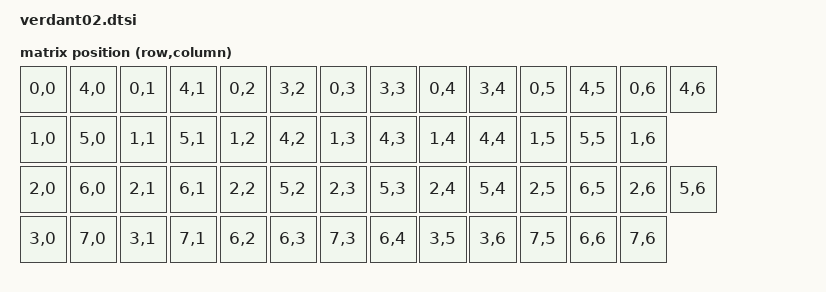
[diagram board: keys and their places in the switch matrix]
/*
 * Copyright (c) 2026 The ZMK Contributors
 * SPDX-License-Identifier: MIT
 *
 * Verdant02 shield: common hardware definitions.
 *
 * This file is board-agnostic. It declares the kscan instance and
 * the 8x7 interleaved matrix-transform (54 mappings for the 14/13/14/13
 * physical-row layout as defined by the original QMK Verdant02.h LAYOUT).
 *
 * Board-specific files (e.g. verdant02.overlay for promicro_nrf52840)
 * MUST #include this dtsi and then populate &kscan0 with row-gpios /
 * col-gpios arrays (only the pin assignments vary by board).
 */

#include <dt-bindings/zmk/matrix_transform.h>
#include <dt-bindings/gpio/gpio.h>

/ {
    chosen {
        zmk,kscan = &kscan0;
        zmk,matrix_transform = &matrix_transform_0;
    };

    kscan0: kscan {
        compatible = "zmk,kscan-gpio-matrix";
        diode-direction = "col2row";
        wakeup-source;

        /* NOTE: row-gpios / col-gpios are NOT populated here.
         * They must be filled in by the board-specific overlay that
         * #includes this file, via:
         *   &kscan0 { row-gpios = <...>; col-gpios = <...>; };
         */
    };

    matrix_transform_0: keymap_transform_0 {
        compatible = "zmk,matrix-transform";
        columns = <7>;
        rows = <8>;

        /*
         * Exact verbatim copy of QMK Firmware/verdant02/Verdant02.h
         * LAYOUT macro argument order. Each `RC(r,c)` = logical row r,
         * logical col c. 54 entries total (14 + 13 + 14 + 13).
         */
        map = <
RC(0,0) RC(4,0) RC(0,1) RC(4,1) RC(0,2) RC(3,2) RC(0,3) RC(3,3) RC(0,4) RC(3,4) RC(0,5) RC(4,5) RC(0,6) RC(4,6)
RC(1,0) RC(5,0) RC(1,1) RC(5,1) RC(1,2) RC(4,2) RC(1,3) RC(4,3) RC(1,4) RC(4,4) RC(1,5) RC(5,5) RC(1,6)
RC(2,0) RC(6,0) RC(2,1) RC(6,1) RC(2,2) RC(5,2) RC(2,3) RC(5,3) RC(2,4) RC(5,4) RC(2,5) RC(6,5) RC(2,6) RC(5,6)
RC(3,0) RC(7,0) RC(3,1) RC(7,1) RC(6,2) RC(6,3) RC(7,3) RC(6,4) RC(3,5) RC(3,6) RC(7,5) RC(6,6) RC(7,6)
        >;
    };
};
